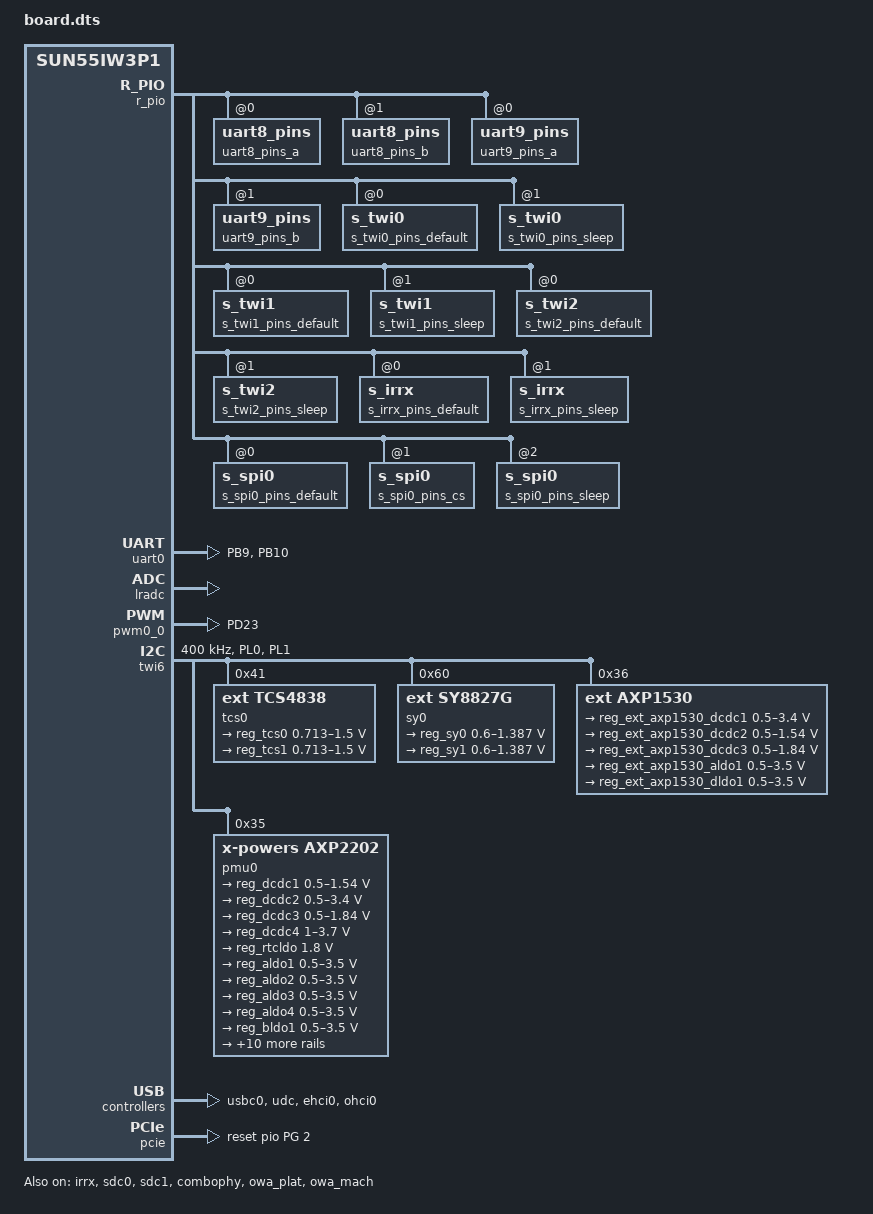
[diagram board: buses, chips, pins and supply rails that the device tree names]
/*
 * Allwinner Technology CO., Ltd.
 */

/dts-v1/;

#include "sun55iw3p1.dtsi"

/{
	board = "A523", "A523-VER1-AXP717C";
	compatible = "allwinner,a523", "arm,sun55iw3p1";
	aliases {
		pmu0 = &pmu0;
		axp1530 = &axp1530;
		serial0 = &uart0;
		reg-tcs0 = &reg_tcs0;
		reg-sy0 = &reg_sy0;
		reg-axp1530 = &reg_ext_axp1530_dcdc1;
		tcs0 = &tcs0;
		sy0 = &sy0;
		cpu-ext = &cpu4;
		standby-param = &standby_param;
		arisc-config = &arisc_config;
	};

	standby_param: standby_param {
		vdd-cpu = <0x00000001>;
		vdd-cpub = <0x00000001>;
		vdd-ndr = <0x00000004>;
		vdd-sys = <0x00000002>;
		vcc-pll = <0x00000080>;
		vcc-io  = <0x00004000>;

		osc24m-on = <0x0>;
	};
	arisc_config: arisc_config {
		s_uart_config{
			pins = "PL2", "PL3";
			function = <2>, <2>;
			status = "disabled";
		};
	};
};

&r_pio {
	uart8_pins_a: uart8_pins@0 {
		pins = "PL2", "PL3";
		function = "s_uart0";
	};

	uart8_pins_b: uart8_pins@1 {
		pins = "PL2", "PL3";
		function = "gpio_in";
	};

	uart9_pins_a: uart9_pins@0 {
		pins = "PM0", "PM1";
		function = "s_uart1";
	};

	uart9_pins_b: uart9_pins@1 {
		pins = "PM0", "PM1";
		function = "gpio_in";
	};

	s_twi0_pins_default: s_twi0@0 {
		pins = "PL0", "PL1";
		function = "s_twi0";
		drive-strength = <10>;
		bias-pull-up;
	};

	s_twi0_pins_sleep: s_twi0@1 {
		pins = "PL0", "PL1";
		function = "gpio_in";
	};

	s_twi1_pins_default: s_twi1@0 {
		pins = "PM2", "PM3";
		function = "s_twi1";
		drive-strength = <10>;
		bias-pull-up;
	};

	s_twi1_pins_sleep: s_twi1@1 {
		pins = "PM2", "PM3";
		function = "gpio_in";
	};

	s_twi2_pins_default: s_twi2@0 {
		pins = "PL12", "PL13";
		function = "s_twi2";
		drive-strength = <10>;
		bias-pull-up;
	};

	s_twi2_pins_sleep: s_twi2@1 {
		pins = "PL12", "PL13";
		function = "gpio_in";
	};

	s_irrx_pins_default: s_irrx@0 {
		pins = "PL11";
		function = "s_cir";
	};

	s_irrx_pins_sleep: s_irrx@1 {
	        pins = "PL11";
		function = "gpio_in";
	};

	s_spi0_pins_default: s_spi0@0 {
		pins = "PL11", "PL12", "PL13"; /* clk, mosi, miso */
		function = "s_spi0";
		drive-strength = <10>;
	};

	s_spi0_pins_cs: s_spi0@1 {
		pins = "PL10";
		function = "s_spi0";
		drive-strength = <10>;
		bias-pull-up;   /* cs, hold, wp should be pulled up */
	};

	s_spi0_pins_sleep: s_spi0@2 {
		pins = "PL10", "PL11", "PL12", "PL13";
		function = "gpio_in";
		drive-strength = <10>;
	};
};

&pio {
	uart0_pins_a: uart0_pins@0 {  /* For FPGA board */
		pins = "PB9", "PB10";
		function = "uart0";
	};

	uart0_pins_b: uart0_pins@1 {
		pins = "PB9", "PB10";
		function = "gpio_in";
	};

	uart2_pins_a: uart2_pins@0 {
		pins = "PB0", "PB1";
		function = "uart2";
	};

	uart2_pins_b: uart2_pins@1 {
		pins = "PB0", "PB1";
		function = "gpio_in";
	};

	uart3_pins_a: uart3_pins@0 {
		pins = "PD14", "PD15";
		function = "uart3";
	};

	uart3_pins_b: uart3_pins@1 {
		pins = "PD14", "PD15";
		function = "gpio_in";
	};

	uart4_pins_a: uart4_pins@0 {
		pins = "PD18", "PD19";
		function = "uart4";
	};

	uart4_pins_b: uart4_pins@1 {
		pins = "PD18", "PD19";
		function = "gpio_in";
	};

	uart5_pins_a: uart5_pins@0 {
		pins = "PE11", "PE12";
		function = "uart5";
	};

	uart5_pins_b: uart5_pins@1 {
		pins = "PE11", "PE12";
		function = "gpio_in";
	};

	uart6_pins_a: uart6_pins@0 {
		pins = "PK18", "PK19";
		function = "uart6";
	};

	uart6_pins_b: uart6_pins@1 {
		pins = "PK18", "PK19";
		function = "gpio_in";
	};

	uart7_pins_a: uart7_pins@0 {
		pins = "PB11", "PB12";
		function = "uart7";
	};

	uart7_pins_b: uart7_pins@1 {
		pins = "PB11", "PB12";
		function = "gpio_in";
	};

	pwm0_0_pin_active: pwm0_0@0 {
		pins = "PD23";
		function = "pwm0_0";
		drive-strength = <10>;
	};

	pwm0_0_pin_sleep: pwm0_0@1 {
		pins = "PD23";
		function = "gpio_in";
	};

	ledc_pins_a: ledc@0 {
		pins = "PG0";
		function = "ledc";
		drive-strength = <10>;
	};

	ledc_pins_b: ledc@1 {
		pins = "PG0";
		function = "gpio_in";
	};

	irrx_pins_default: irrx@0 {
		pins = "PH19";
		function = "cir";
	};

	irrx_pins_sleep: irrx@1 {
	        pins = "PH19";
	        function = "gpio_in";
	};

	irtx_pins_default: irtx@0 {
		pins = "PH18";
		function = "cir";
	};

	irtx_pins_sleep: irtx@1 {
		pins = "PH18";
		function = "gpio_in";
	};

	twi0_pins_default: twi0@0 {
		pins = "PH0", "PH1";
		function = "twi0";
		drive-strength = <10>;
		bias-pull-up;
	};

	twi0_pins_sleep: twi0@1 {
		pins = "PH0", "PH1";
		function = "gpio_in";
	};

	twi1_pins_default: twi1@0 {
		pins = "PE11", "PE12";
		function = "twi1";
		drive-strength = <10>;
		bias-pull-up;
	};

	twi1_pins_sleep: twi1@1 {
		pins = "PE11", "PE12";
		function = "gpio_in";
	};

	twi2_pins_default: twi2@0 {
		pins = "PE1", "PE2";
		function = "twi2";
		drive-strength = <10>;
		bias-pull-up;
	};

	twi2_pins_sleep: twi2@1 {
		pins = "PE1", "PE2";
		function = "gpio_in";
	};

	twi3_pins_default: twi3@0 {
		pins = "PE3", "PE4";
		function = "twi3";
		drive-strength = <10>;
		bias-pull-up;
	};

	twi3_pins_sleep: twi3@1 {
		pins = "PE3", "PE4";
		function = "gpio_in";
	};

	twi4_pins_default: twi4@0 {
		pins = "PE13", "PE14";
		function = "twi4";
		drive-strength = <10>;
		bias-pull-up;
	};

	twi4_pins_sleep: twi4@1 {
		pins = "PE13", "PE14";
		function = "gpio_in";
	};

	twi5_pins_default: twi5@0 {
		pins = "PB11", "PB12";
		function = "twi5";
		drive-strength = <10>;
		bias-pull-up;
	};

	twi5_pins_sleep: twi5@1 {
		pins = "PB11", "PB12";
		function = "gpio_in";
	};

	spi0_pins_default: spi0@0 {
		pins = "PC12", "PC2", "PC4"; /* clk, mosi, miso */
		function = "spi0";
		drive-strength = <10>;
	};

	spi0_pins_cs: spi0@1 {
		pins = "PC3", "PC15", "PC16";
		function = "spi0";
		drive-strength = <10>;
		bias-pull-up;   /* cs, hold, wp should be pulled up */
	};

	spi0_pins_sleep: spi0@2 {
		pins = "PC12", "PC2", "PC4", "PC3", "PC15", "PC16";
		function = "gpio_in";
		drive-strength = <10>;
	};

	spi1_pins_default: spi1@0 {
		pins = "PH5", "PH6", "PH7"; /* clk, mosi, miso */
		function = "spi1";
		drive-strength = <10>;
	};

	spi1_pins_cs: spi1@1 {
		pins = "PH4";
		function = "spi1";
		drive-strength = <10>;
		bias-pull-up;   /* cs, hold, wp should be pulled up */
	};

	spi1_pins_sleep: spi1@2 {
		pins = "PH4", "PH5", "PH6", "PH7";
		function = "gpio_in";
		drive-strength = <10>;
	};

	spi2_pins_default: spi2@0 {
		pins = "PE12", "PE13", "PE14"; /* clk, mosi, miso */
		function = "spi2";
		drive-strength = <10>;
	};

	spi2_pins_cs: spi2@1 {
		pins = "PE11";
		function = "spi2";
		drive-strength = <10>;
		bias-pull-up;   /* cs, hold, wp should be pulled up */
	};

	spi2_pins_sleep: spi2@2 {
		pins = "PE11", "PE12", "PE13", "PE14";
		function = "gpio_in";
		drive-strength = <10>;
	};

	nand0_pins_default: nand0@0 {
		pins = "PC0", "PC1", "PC2", "PC5",
			 "PC8", "PC9", "PC10", "PC11",
			 "PC12", "PC13", "PC14", "PC15",
			 "PC16";
		function = "nand0";
		drive-strength = <30>;
	};

	nand0_pins_rb: nand0@1 {
		pins = "PC4", "PC6", "PC3", "PC7";
		function = "nand0";
		drive-strength = <30>;
		bias-pull-up;   /* only RB&CE should be pulled up */
	};

	nand0_pins_sleep: nand0@2 {
		pins = "PC0", "PC1", "PC2", "PC3",
			 "PC4", "PC5", "PC6", "PC7",
			 "PC8", "PC9", "PC10", "PC11",
			 "PC12", "PC13", "PC14", "PC15",
			 "PC16";
		function = "io_disabled";
		drive-strength = <10>;
	};

	owa_pins_a: owa@0 {
		pins = "PH7";
		function = "owa";
		drive-strength = <20>;
		bias-disable;
	};

	owa_pins_b: owa@1 {
		pins = "PH7";
		function = "io_disabled";
		drive-strength = <20>;
		bias-disable;
	};
};

&soc {
	auto_print@54321 {
		reg = <0x0 0x54321 0x0 0x0>;
		device_type = "auto_print";
		status = "okay";
	};

};

&uart0 {
	pinctrl-names = "default", "sleep";
	pinctrl-0 = <&uart0_pins_a>;
	pinctrl-1 = <&uart0_pins_b>;
	uart-supply = <&reg_cldo3>;
	status = "okay";
};

&uart2 {
	pinctrl-names = "default", "sleep";
	pinctrl-0 = <&uart2_pins_a>;
	pinctrl-1 = <&uart2_pins_b>;
	status = "disabled";
};

&uart3 {
	pinctrl-names = "default", "sleep";
	pinctrl-0 = <&uart3_pins_a>;
	pinctrl-1 = <&uart3_pins_b>;
	status = "disabled";
};

&uart4 {
	pinctrl-names = "default", "sleep";
	pinctrl-0 = <&uart4_pins_a>;
	pinctrl-1 = <&uart4_pins_b>;
	status = "disabled";
};

&uart5 {
	pinctrl-names = "default", "sleep";
	pinctrl-0 = <&uart5_pins_a>;
	pinctrl-1 = <&uart5_pins_b>;
	status = "disabled";
};

&uart6 {
	pinctrl-names = "default", "sleep";
	pinctrl-0 = <&uart6_pins_a>;
	pinctrl-1 = <&uart6_pins_b>;
	status = "disabled";
};

&uart7 {
	pinctrl-names = "default", "sleep";
	pinctrl-0 = <&uart7_pins_a>;
	pinctrl-1 = <&uart7_pins_b>;
	status = "disabled";
};

&uart8 {
	pinctrl-names = "default", "sleep";
	pinctrl-0 = <&uart8_pins_a>;
	pinctrl-1 = <&uart8_pins_b>;
	status = "disabled";
};

&uart9 {
	pinctrl-names = "default", "sleep";
	pinctrl-0 = <&uart9_pins_a>;
	pinctrl-1 = <&uart9_pins_b>;
	status = "disabled";
};

&lradc {
	key_cnt = <5>;
	key0 = <210 115>;
	key1 = <410 114>;
	key2 = <590 139>;
	key3 = <750 28>;
	key4 = <880 172>;
	status = "okay";
};

&gpadc0 {
	channel_num = <2>;
	channel_select = <3>;
	channel_data_select = <3>;
	channel_compare_select = <3>;
	channel_cld_select = <3>;
	channel_chd_select = <3>;
	channel0_compare_lowdata = <1700000>;
	channel0_compare_higdata = <1200000>;
	channel1_compare_lowdata = <460000>;
	channel1_compare_higdata = <1200000>;
	status = "disabled";
};

&gpadc1 {
	channel_num = <2>;
	channel_select = <3>;
	channel_data_select = <3>;
	channel_compare_select = <3>;
	channel_cld_select = <3>;
	channel_chd_select = <3>;
	channel0_compare_lowdata = <1700000>;
	channel0_compare_higdata = <1200000>;
	channel1_compare_lowdata = <460000>;
	channel1_compare_higdata = <1200000>;
	status = "disabled";
};

&pwm0_0 {
	pinctrl-names = "active", "sleep";
	pinctrl-0 = <&pwm0_0_pin_active>;
	pinctrl-1 = <&pwm0_0_pin_sleep>;
	status = "okay";
};

&ledc  {
	pinctrl-names = "default", "sleep";
	pinctrl-0 = <&ledc_pins_a>;
	pinctrl-1 = <&ledc_pins_b>;
	led_count = <34>;
	output_mode = "GRB";
	reset_ns = <84>;
	t1h_ns = <800>;
	t1l_ns = <320>;
	t0h_ns = <300>;
	t0l_ns = <800>;
	wait_time0_ns = <84>;
	wait_time1_ns = <84>;
	wait_data_time_ns = <600000>;
	status = "disabled";
};

&irrx {
	pinctrl-names = "default", "sleep";
	pinctrl-0 = <&irrx_pins_default>;
	pinctrl-1 = <&irrx_pins_sleep>;
	status = "okay";
};

&s_irrx {
	pinctrl-names = "default", "sleep";
	pinctrl-0 = <&s_irrx_pins_default>;
	pinctrl-1 = <&s_irrx_pins_sleep>;
	status = "disabled";
};

&irtx {
	pinctrl-names = "default", "sleep";
	pinctrl-0 = <&irtx_pins_default>;
	pinctrl-1 = <&irtx_pins_sleep>;
	status = "disabled";
};

&twi0 {
	clock-frequency = <400000>;
	pinctrl-0 = <&twi0_pins_default>;
	pinctrl-1 = <&twi0_pins_sleep>;
	pinctrl-names = "default", "sleep";
	/* For stability and backwards compatibility, we recommend setting ‘twi_drv_used’ to 1 */
	twi_drv_used = <1>;
	status = "disabled";

	eeprom@50 {
		compatible = "atmel,24c16";
		reg = <0x50>;
		status = "okay";
	};
};

&twi1 {
	clock-frequency = <400000>;
	pinctrl-0 = <&twi1_pins_default>;
	pinctrl-1 = <&twi1_pins_sleep>;
	pinctrl-names = "default", "sleep";
	/* For stability and backwards compatibility, we recommend setting ‘twi_drv_used’ to 1 */
	twi_drv_used = <1>;
	status = "disabled";
};

&twi2 {
	clock-frequency = <400000>;
	pinctrl-0 = <&twi2_pins_default>;
	pinctrl-1 = <&twi2_pins_sleep>;
	pinctrl-names = "default", "sleep";
	/* For stability and backwards compatibility, we recommend setting ‘twi_drv_used’ to 1 */
	twi_drv_used = <1>;
	status = "disabled";
};

&twi3 {
	clock-frequency = <400000>;
	pinctrl-0 = <&twi3_pins_default>;
	pinctrl-1 = <&twi3_pins_sleep>;
	pinctrl-names = "default", "sleep";
	/* For stability and backwards compatibility, we recommend setting ‘twi_drv_used’ to 1 */
	twi_drv_used = <1>;
	status = "disabled";
};

&twi4 {
	clock-frequency = <400000>;
	pinctrl-0 = <&twi4_pins_default>;
	pinctrl-1 = <&twi4_pins_sleep>;
	pinctrl-names = "default", "sleep";
	/* For stability and backwards compatibility, we recommend setting ‘twi_drv_used’ to 1 */
	twi_drv_used = <1>;
	status = "disabled";
};

&twi5 {
	clock-frequency = <400000>;
	pinctrl-0 = <&twi5_pins_default>;
	pinctrl-1 = <&twi5_pins_sleep>;
	pinctrl-names = "default", "sleep";
	/* For stability and backwards compatibility, we recommend setting ‘twi_drv_used’ to 1 */
	twi_drv_used = <1>;
	status = "disabled";
};

&twi6 {
	clock-frequency = <400000>;
	pinctrl-0 = <&s_twi0_pins_default>;
	pinctrl-1 = <&s_twi0_pins_sleep>;
	pinctrl-names = "default", "sleep";
	/* For stability and backwards compatibility, we recommend setting ‘twi_drv_used’ to 1 */
	twi_drv_used = <1>;
	no_suspend = <1>;
	status = "okay";

	tcs0: tcs@41 {
		compatible = "ext,tcs4838";
		reg = <0x41>;
		status = "okay";
		tcs4838_delay = <0>;
		regulator1: regulators@1 {
			reg_tcs0: dcdc0 {
				regulator-name = "tcs4838-dcdc0";
				regulator-min-microvolt = <712500>;
				regulator-max-microvolt = <1500000>;
				regulator-ramp-delay = <520>;
				regulator-enable-ramp-delay = <1000>;
				regulator-always-on;
				regulator-boot-on;
			};
			reg_tcs1: dcdc1 {
				regulator-name = "tcs4838-dcdc1";
				regulator-min-microvolt = <712500>;
				regulator-max-microvolt = <1500000>;
				regulator-ramp-delay = <520>;
				regulator-enable-ramp-delay = <1000>;
			};
		};
		virtual-ext-dcdc0 {
			compatible = "xpower-vregulator,ext-dcdc0";
			dcdc0-supply = <&reg_tcs0>;
		};
		virtual-ext-dcdc1 {
			compatible = "xpower-vregulator,ext-dcdc1";
			dcdc1-supply = <&reg_tcs1>;
		};
	};

	sy0: sy@60 {
		compatible = "ext,sy8827g";
		reg = <0x60>;
		status = "okay";
		sy8827g_delay = <0>;
		regulator2: regulators@2 {
			reg_sy0: dcdc0 {
				regulator-name = "sy8827g-dcdc0";
				regulator-min-microvolt = <600000>;
				regulator-max-microvolt = <1387500>;
				regulator-ramp-delay = <520>;
				regulator-enable-ramp-delay = <1000>;
				regulator-always-on;
				regulator-boot-on;
			};
			reg_sy1: dcdc1 {
				regulator-name = "sy8827g-dcdc1";
				regulator-min-microvolt = <600000>;
				regulator-max-microvolt = <1387500>;
				regulator-ramp-delay = <520>;
				regulator-enable-ramp-delay = <1000>;
			};
		};
		virtual-ext-dcdc0 {
			compatible = "xpower-vregulator,ext-dcdc0";
			dcdc0-supply = <&reg_sy0>;
		};
		virtual-ext-dcdc1 {
			compatible = "xpower-vregulator,ext-dcdc1";
			dcdc1-supply = <&reg_sy1>;
		};
	};

	axp1530: axp1530@36{
		compatible = "ext,axp1530";
		status = "okay";
		reg = <0x36>;

		wakeup-source;

		regulators{
			reg_ext_axp1530_dcdc1: dcdc1 {
				regulator-name = "axp1530-dcdc1";
				regulator-min-microvolt = <500000>;
				regulator-max-microvolt = <3400000>;
				regulator-step-delay-us = <25>;
				regulator-final-delay-us = <50>;
				regulator-always-on;
			};

			reg_ext_axp1530_dcdc2: dcdc2 {
				regulator-name = "axp1530-dcdc2";
				regulator-min-microvolt = <500000>;
				regulator-max-microvolt = <1540000>;
				regulator-step-delay-us = <25>;
				regulator-final-delay-us = <50>;
				regulator-ramp-delay = <200>; /* FIXME */
				regulator-always-on;
			};

			reg_ext_axp1530_dcdc3: dcdc3 {
				regulator-name = "axp1530-dcdc3";
				regulator-min-microvolt = <500000>;
				regulator-max-microvolt = <1840000>;
				regulator-step-delay-us = <25>;
				regulator-final-delay-us = <50>;
				regulator-always-on;
			};

			reg_ext_axp1530_aldo1: ldo1 {
				regulator-name = "axp1530-aldo1";
				regulator-min-microvolt = <500000>;
				regulator-max-microvolt = <3500000>;
				regulator-step-delay-us = <25>;
				regulator-final-delay-us = <50>;
			};

			reg_ext_axp1530_dldo1: ldo2 {
				regulator-name = "axp1530-dldo1";
				regulator-min-microvolt = <500000>;
				regulator-max-microvolt = <3500000>;
				regulator-step-delay-us = <25>;
				regulator-final-delay-us = <50>;
			};
		};
		virtual-ext-dcdc1 {
			compatible = "xpower-vregulator,ext-dcdc1";
			dcdc1-supply = <&reg_ext_axp1530_dcdc1>;
		};
		virtual-ext-dcdc2 {
			compatible = "xpower-vregulator,ext-dcdc2";
			dcdc2-supply = <&reg_ext_axp1530_dcdc2>;
		};
		virtual-ext-dcdc3 {
			compatible = "xpower-vregulator,ext-dcdc3";
			dcdc3-supply = <&reg_ext_axp1530_dcdc3>;
		};
		virtual-ext-aldo1 {
			compatible = "xpower-vregulator,ext-aldo1";
			aldo1-supply = <&reg_ext_axp1530_aldo1>;
		};
		virtual-ext-dldo1 {
			compatible = "xpower-vregulator,ext-dldo1";
			dldo1-supply = <&reg_ext_axp1530_dldo1>;
		};

	};
	pmu0: pmu@35 {
		compatible = "x-powers,axp2202";
		reg = <0x35>;
		status = "okay";
		interrupts = <0 IRQ_TYPE_LEVEL_LOW>;
		interrupt-parent = <&nmi_intc>;
		x-powers,drive-vbus-en;
		pmu_reset = <0>;
		pmu_irq_wakeup = <1>;
		pmu_hot_shutdown = <1>;

		wakeup-source;

		usb_power_supply: usb_power_supply {
			compatible = "x-powers,axp2202-usb-power-supply";
			status = "okay";

			pmu_usbpc_vol = <4600>;
			pmu_usbpc_cur = <500>;
			pmu_usbad_vol = <4000>;
			pmu_usbad_cur = <2500>;
			pmu_usb_typec_used = <1>;
			wakeup_usb_in;
			wakeup_usb_out;

			det_acin_supply = <&gpio_power_supply>;
			pmu_acin_usbid_drv = <&pio PH 12 GPIO_ACTIVE_LOW>;
			pmu_vbus_det_gpio = <&pio PH 13 GPIO_ACTIVE_LOW>;
		};

		gpio_power_supply: gpio_power_supply {
			compatible = "x-powers,gpio-supply";
			status = "disabled";
			pmu_acin_det_gpio = <&pio PH 14 GPIO_ACTIVE_LOW>;
			det_usb_supply = <&usb_power_supply>;
		};

		bat_power_supply: bat-power-supply {
			compatible = "x-powers,axp2202-bat-power-supply";
			param = <&axp2202_parameter>;
			status = "disabled";

			pmu_chg_ic_temp = <0>;

			pmu_battery_cap = <1771>;
			pmu_runtime_chgcur = <1000>;
			pmu_suspend_chgcur = <1500>;
			pmu_shutdown_chgcur = <1500>;
			pmu_init_chgvol = <4350>;
			pmu_battery_warning_level1 = <15>;
			pmu_battery_warning_level2 = <0>;
			pmu_chgled_func = <0>;
			pmu_chgled_type = <0>;

			pmu_bat_temp_enable = <0>;
			pmu_jetia_en        = <0>;
			pmu_bat_charge_ltf = <1738>; //-5
			pmu_bat_charge_htf = <150>; //60
			pmu_bat_shutdown_ltf = <2125>; //-10
			pmu_bat_shutdown_htf = <130>; //65
			pmu_jetia_cool = <1390>; //0
			pmu_jetia_warm = <206>; //50
			pmu_jcool_ifall = <2>;//75%
			pmu_jwarm_ifall = <2>;//75%
			pmu_bat_temp_para1 = <4592>; //SDNT-25
			pmu_bat_temp_para2 = <2781>; //-15
			pmu_bat_temp_para3 = <2125>; //-10
			pmu_bat_temp_para4 = <1738>; //-5
			pmu_bat_temp_para5 = <1390>;//0
			pmu_bat_temp_para6 = <1118>; //5
			pmu_bat_temp_para7 = <906>; //10
			pmu_bat_temp_para8 = <606>; //20
			pmu_bat_temp_para9 = <415>; //30
			pmu_bat_temp_para10 = <290>; //40
			pmu_bat_temp_para11 = <244>; //45
			pmu_bat_temp_para12 = <206>; //50
			pmu_bat_temp_para13 = <175>; //55
			pmu_bat_temp_para14 = <150>; //60
			pmu_bat_temp_para15 = <110>; //70
			pmu_bat_temp_para16 = <83>; //80

			wakeup_bat_out;
			/* wakeup_bat_in; */
			/* wakeup_bat_charging; */
			/* wakeup_bat_charge_over; */
			/* wakeup_low_warning1; */
			/* wakeup_low_warning2; */
			/* wakeup_bat_untemp_work; */
			/* wakeup_bat_ovtemp_work; */
			/* wakeup_bat_untemp_chg; */
			/* wakeup_bat_ovtemp_chg; */
		};

		powerkey0: powerkey@0 {
			status = "okay";
			compatible = "x-powers,axp2101-pek";
			pmu_powkey_off_time = <6000>;
			pmu_powkey_off_func = <0>;
			pmu_powkey_off_en = <1>;
			pmu_powkey_long_time = <1500>;
			pmu_powkey_on_time = <512>;
			wakeup_rising;
			wakeup_falling;
		};

		regulator0: regulators@0 {
			reg_dcdc1: dcdc1 {
				regulator-name = "axp2202-dcdc1";
				regulator-min-microvolt = <500000>;
				regulator-max-microvolt = <1540000>;
				regulator-ramp-delay = <250>;
				regulator-enable-ramp-delay = <1000>;
				regulator-boot-on;
				regulator-always-on;
			};
			reg_dcdc2: dcdc2 {
				regulator-name = "axp2202-dcdc2";
				regulator-min-microvolt = <500000>;
				regulator-max-microvolt = <3400000>;
				regulator-ramp-delay = <250>;
				regulator-enable-ramp-delay = <1000>;
				regulator-boot-on;
				regulator-always-on;
			};
			reg_dcdc3: dcdc3 {
				regulator-name = "axp2202-dcdc3";
				regulator-min-microvolt = <500000>;
				regulator-max-microvolt = <1840000>;
				regulator-ramp-delay = <250>;
				regulator-enable-ramp-delay = <1000>;
				regulator-always-on;
			};
			reg_dcdc4: dcdc4 {
				regulator-name = "axp2202-dcdc4";
				regulator-min-microvolt = <1000000>;
				regulator-max-microvolt = <3700000>;
				regulator-ramp-delay = <250>;
				regulator-enable-ramp-delay = <1000>;
			};
			reg_rtcldo: rtcldo {
				/* RTC_LDO is a fixed, always-on regulator */
				regulator-name = "axp2202-rtcldo";
				regulator-min-microvolt = <1800000>;
				regulator-max-microvolt = <1800000>;
				regulator-boot-on;
				regulator-always-on;
			};
			reg_aldo1: aldo1 {
				regulator-name = "axp2202-aldo1";
				regulator-min-microvolt = <500000>;
				regulator-max-microvolt = <3500000>;
				regulator-enable-ramp-delay = <1000>;
			};
			reg_aldo2: aldo2 {
				regulator-name = "axp2202-aldo2";
				regulator-min-microvolt = <500000>;
				regulator-max-microvolt = <3500000>;
				regulator-enable-ramp-delay = <1000>;
			};
			reg_aldo3: aldo3 {
				regulator-name = "axp2202-aldo3";
				regulator-min-microvolt = <500000>;
				regulator-max-microvolt = <3500000>;
				regulator-enable-ramp-delay = <1000>;
				regulator-always-on;
				regulator-boot-on;
			};
			reg_aldo4: aldo4 {
				regulator-name = "axp2202-aldo4";
				regulator-min-microvolt = <500000>;
				regulator-max-microvolt = <3500000>;
				regulator-enable-ramp-delay = <1000>;
				regulator-always-on;
				regulator-boot-on;
			};
			reg_bldo1: bldo1 {
				regulator-name = "axp2202-bldo1";
				regulator-min-microvolt = <500000>;
				regulator-max-microvolt = <3500000>;
				regulator-enable-ramp-delay = <1000>;
			};
			reg_bldo2: bldo2 {
				regulator-name = "axp2202-bldo2";
				regulator-min-microvolt = <500000>;
				regulator-max-microvolt = <3500000>;
				regulator-enable-ramp-delay = <1000>;
				regulator-boot-on;
				regulator-always-on;
			};
			reg_bldo3: bldo3 {
				regulator-name = "axp2202-bldo3";
				regulator-min-microvolt = <500000>;
				regulator-max-microvolt = <3500000>;
				regulator-enable-ramp-delay = <1000>;
			};
			reg_bldo4: bldo4 {
				regulator-name = "axp2202-bldo4";
				regulator-min-microvolt = <500000>;
				regulator-max-microvolt = <3500000>;
				regulator-enable-ramp-delay = <1000>;
			};
			reg_cldo1: cldo1 {
				regulator-name = "axp2202-cldo1";
				regulator-min-microvolt = <500000>;
				regulator-max-microvolt = <3500000>;
				regulator-enable-ramp-delay = <1000>;
			};
			reg_cldo2: cldo2 {
				regulator-name = "axp2202-cldo2";
				regulator-min-microvolt = <500000>;
				regulator-max-microvolt = <3500000>;
				regulator-enable-ramp-delay = <1000>;
			};
			reg_cldo3: cldo3 {
				regulator-name = "axp2202-cldo3";
				regulator-min-microvolt = <500000>;
				regulator-max-microvolt = <3500000>;
				regulator-ramp-delay = <2500>;
				regulator-enable-ramp-delay = <1000>;
				regulator-boot-on;
				regulator-always-on;
			};
			reg_cldo4: cldo4 {
				regulator-name = "axp2202-cldo4";
				regulator-min-microvolt = <500000>;
				regulator-max-microvolt = <3500000>;
				regulator-enable-ramp-delay = <1000>;
			};
			reg_cpusldo: cpusldo {
				/* cpus */
				regulator-name = "axp2202-cpusldo";
				regulator-min-microvolt = <500000>;
				regulator-max-microvolt = <1400000>;
				regulator-boot-on;
				regulator-always-on;
			};
			reg_vmid: vmid {
				regulator-name = "axp2202-vmid";
				regulator-enable-ramp-delay = <1000>;
			};
			reg_drivevbus: drivevbus {
				regulator-name = "axp2202-drivevbus";
				regulator-enable-ramp-delay = <1000>;
				drivevbusin-supply = <&reg_vmid>;
			};
		};

		virtual-dcdc1 {
			compatible = "xpower-vregulator,dcdc1";
			dcdc1-supply = <&reg_dcdc1>;
		};
		virtual-dcdc2 {
			compatible = "xpower-vregulator,dcdc2";
			dcdc2-supply = <&reg_dcdc2>;
		};
		virtual-dcdc3 {
			compatible = "xpower-vregulator,dcdc3";
			dcdc3-supply = <&reg_dcdc3>;
		};
		virtual-dcdc4 {
			compatible = "xpower-vregulator,dcdc4";
			dcdc4-supply = <&reg_dcdc4>;
		};
		virtual-rtcldo {
			compatible = "xpower-vregulator,rtcldo";
			rtcldo-supply = <&reg_rtcldo>;
		};
		virtual-aldo1 {
			compatible = "xpower-vregulator,aldo1";
			aldo1-supply = <&reg_aldo1>;
		};
		virtual-aldo2 {
			compatible = "xpower-vregulator,aldo2";
			aldo2-supply = <&reg_aldo2>;
		};
		virtual-aldo3 {
			compatible = "xpower-vregulator,aldo3";
			aldo3-supply = <&reg_aldo3>;
		};
		virtual-aldo4 {
			compatible = "xpower-vregulator,aldo4";
			aldo4-supply = <&reg_aldo4>;
		};
		virtual-bldo1 {
			compatible = "xpower-vregulator,bldo1";
			bldo1-supply = <&reg_bldo1>;
		};
		virtual-bldo2 {
			compatible = "xpower-vregulator,bldo2";
			bldo2-supply = <&reg_bldo2>;
		};
		virtual-bldo3 {
			compatible = "xpower-vregulator,bldo3";
			bldo3-supply = <&reg_bldo3>;
		};
		virtual-bldo4 {
			compatible = "xpower-vregulator,bldo4";
			bldo4-supply = <&reg_bldo4>;
		};
		virtual-cldo1 {
			compatible = "xpower-vregulator,cldo1";
			cldo1-supply = <&reg_cldo1>;
		};
		virtual-cldo2 {
			compatible = "xpower-vregulator,cldo2";
			cldo2-supply = <&reg_cldo2>;
		};
		virtual-cldo3 {
			compatible = "xpower-vregulator,cldo3";
			cldo3-supply = <&reg_cldo3>;
		};
		virtual-cldo4 {
			compatible = "xpower-vregulator,cldo4";
			cldo4-supply = <&reg_cldo4>;
		};
		virtual-cpusldo {
			compatible = "xpower-vregulator,cpusldo";
			cpusldo-supply = <&reg_cpusldo>;
		};
		virtual-drivevbus {
			compatible = "xpower-vregulator,drivevbus";
			drivevbus-supply = <&reg_drivevbus>;
		};
		axp_gpio0: axp_gpio@0 {
			gpio-controller;
			#size-cells = <0>;
			#gpio-cells = <6>;
			status = "okay";
		};
	};
};

&twi7 {
	clock-frequency = <400000>;
	pinctrl-0 = <&s_twi1_pins_default>;
	pinctrl-1 = <&s_twi1_pins_sleep>;
	pinctrl-names = "default", "sleep";
	/* For stability and backwards compatibility, we recommend setting ‘twi_drv_used’ to 1 */
	twi_drv_used = <1>;
	status = "disabled";
};

&twi8 {
	clock-frequency = <400000>;
	pinctrl-0 = <&s_twi2_pins_default>;
	pinctrl-1 = <&s_twi2_pins_sleep>;
	pinctrl-names = "default", "sleep";
	/* For stability and backwards compatibility, we recommend setting ‘twi_drv_used’ to 1 */
	twi_drv_used = <1>;
	status = "disabled";
};

/{
	axp2202_parameter:axp2202-parameter {
		select = "battery-model";

		battery-model {
			parameter = /bits/ 8 <0x01 0xf5 0x40 0x00 0x1b 0x1e 0x28 0x0f
				0x0c 0x1e 0x32 0x02 0x14 0x05 0x0a 0x04
				0x74 0xfb 0xc8 0x0d 0x43 0x10 0x36 0xfb
				0x46 0x01 0xea 0x0d 0x2a 0x06 0x36 0x05
				0xf4 0x0a 0xb5 0x0f 0x42 0x0e 0xe6 0x09
				0x9a 0x0e 0x42 0x0e 0x3b 0x04 0x2d 0x04
				0x23 0x09 0x18 0x0e 0x09 0x0e 0x04 0x08
				0xf7 0x0d 0xda 0x0d 0xd0 0x03 0xbb 0x03
				0x9d 0x08 0x7f 0x0d 0x6a 0x0d 0x55 0x07
				0xc2 0x57 0x2b 0x27 0x1e 0x0d 0x14 0x08
				0xc5 0x98 0x7e 0x66 0x4e 0x44 0x38 0x1a
				0x12 0x0a 0xf6 0x00 0x00 0xf6 0x00 0xf6
				0x00 0xfb 0x00 0x00 0xfb 0x00 0x00 0xfb
				0x00 0x00 0xf6 0x00 0x00 0xf6 0x00 0xf6
				0x00 0xfb 0x00 0x00 0xfb 0x00 0x00 0xfb
				0x00 0x00 0xf6 0x00 0x00 0xf6 0x00 0xf6>;
		};
			  };
};

&spi0 {
	clock-frequency = <100000000>;
	pinctrl-0 = <&spi0_pins_default &spi0_pins_cs>;
	pinctrl-1 = <&spi0_pins_sleep>;
	pinctrl-names = "default", "sleep";
	spi_slave_mode = <0>;
	status = "disabled";
};

&spi1 {
	clock-frequency = <100000000>;
	pinctrl-0 = <&spi1_pins_default &spi1_pins_cs>;
	pinctrl-1 = <&spi1_pins_sleep>;
	pinctrl-names = "default", "sleep";
	spi_slave_mode = <0>;
	status = "disabled";
};

&spi2 {
	clock-frequency = <100000000>;
	pinctrl-0 = <&spi2_pins_default &spi2_pins_cs>;
	pinctrl-1 = <&spi2_pins_sleep>;
	pinctrl-names = "default", "sleep";
	spi_slave_mode = <0>;
	status = "disabled";
};

&r_spi0 {
	clock-frequency = <100000000>;
	pinctrl-0 = <&s_spi0_pins_default &s_spi0_pins_cs>;
	pinctrl-1 = <&s_spi0_pins_sleep>;
	pinctrl-names = "default", "sleep";
	spi_slave_mode = <0>;
	status = "disabled";
};

&nand0 {
	compatible = "allwinner,sun55iw3-nand";
	device_type = "nand0";
	//reg = <0x0 0x04011000 0x0 0x1000>;/* nand0 */
	pinctrl-names = "default", "sleep";
	pinctrl-0 = <&nand0_pins_default &nand0_pins_rb>;
	pinctrl-1 = <&nand0_pins_sleep>;
	nand0_regulator1 = "vcc-nand";
	nand0_regulator2 = "none";
	nand0_cache_level = <0x55aaaa55>;
	nand0_flush_cache_num = <0x55aaaa55>;
	nand0_capacity_level = <0x55aaaa55>;
	nand0_id_number_ctl = <0x55aaaa55>;
	nand0_print_level = <0x55aaaa55>;
	nand0_p0 = <0x55aaaa55>;
	nand0_p1 = <0x55aaaa55>;
	nand0_p2 = <0x55aaaa55>;
	nand0_p3 = <0x55aaaa55>;
	chip_code = "sun55iw3";
	status = "disabled";
};

&sdc2 {
	non-removable;
	bus-width = <8>;
	/* mmc-ddr-1_8v; */
	/* mmc-hs200-1_8v; */
	/* mmc-hs400-1_8v; */
	no-sdio;
	no-sd;
	ctl-spec-caps = <0x328>;
	cap-mmc-highspeed;
	sunxi-power-save-mode;
	sunxi-dis-signal-vol-sw;
	mmc-bootpart-noacc;
	/*cap-hsq;*/
	cqe-on;
	ctl-cmdq-md = <0x2>;
	max-frequency = <50000000>;
	status = "disabled";
};

&sdc0 {
	bus-width = <4>;
	cd-gpios = <&pio PF 6 (GPIO_ACTIVE_LOW | GPIO_PULL_UP)>;
	/*non-removable;*/
	/*broken-cd;*/
	/*cd-inverted*/
	/*data3-detect;*/
	/*card-pwr-gpios = <&pio PH 14 1 1 2 0xffffffff>;*/
	cd-used-24M;
	cd-set-debounce = <0x31>;
	cap-sd-highspeed;
	/* sd-uhs-sdr50; */
	/* sd-uhs-ddr50; */
	/* sd-uhs-sdr104; */
	no-sdio;
	no-mmc;
	sunxi-power-save-mode;
	/*sunxi-dis-signal-vol-sw;*/
	max-frequency = <50000000>;
	ctl-spec-caps = <0x428>;
	vmmc-supply = <&reg_cldo3>;
	vqmmc33sw-supply = <&reg_cldo3>;
	vdmmc33sw-supply = <&reg_cldo3>;
	vqmmc18sw-supply = <&reg_cldo1>;
	vdmmc18sw-supply = <&reg_cldo1>;
	status = "okay";
};

&sdc1 {
	bus-width = <4>;
	no-mmc;
	no-sd;
	cap-sd-highspeed;
	/* sd-uhs-sdr12; */
	/* sd-uhs-sdr25; */
	/* sd-uhs-sdr50; */
	/* sd-uhs-ddr50; */
	/* sd-uhs-sdr104; */
	/* sunxi-power-save-mode;*/
	sunxi-dis-signal-vol-sw;
	cap-sdio-irq;
	keep-power-in-suspend;
	ignore-pm-notify;
	max-frequency = <50000000>;
	ctl-spec-caps = <0x428>;
	status = "okay";
};

/*
 *usb_port_type: usb mode. 0-device, 1-host, 2-otg.
 *usb_detect_type: usb hotplug detect mode. 0-none, 1-vbus/id detect, 2-id/dpdm detect.
 *usb_detect_mode: 0-thread scan, 1-id gpio interrupt.
 *usb_id_gpio: gpio for id detect.
 *usb_det_vbus_gpio: gpio for id detect. gpio or "axp_ctrl";
 *usb_wakeup_suspend：0-SUPER_STANDBY, 1-USB_STANDBY.
 */
&usbc0 {
	device_type = "usbc0";
	usb_port_type = <0x2>;
	usb_detect_type = <0x1>;
	usb_detect_mode = <0x1>;
	usb_id_gpio;
	usb_det_vbus_gpio;
	usb_regulator_io = "nocare";
	usb_wakeup_suspend = <1>;
	usb_luns = <3>;
	usb_serial_unique = <0>;
	usb_serial_number = "20080411";
	rndis_wceis = <1>;
	wakeup-source;
	status = "okay";
};

&udc {
	status = "okay";
};

&ehci0 {
	status = "okay";
};

&ohci0 {
	status = "okay";
};

/*
 * clk-freq-24M : use Internal 24M reference clock
 * clk-freq-100M: use Internal 100M reference clock
 *
 * Pick one of two.
 */
&combophy {
	clk-freq-100M;
	status = "okay";
};

&pcie {
	reset-gpios = <&pio PG 2 GPIO_ACTIVE_HIGH>;
	wake-gpios = <&pio PG 3 GPIO_ACTIVE_HIGH>;
	pcie3v3-supply = <&reg_bldo1>;
	clk-freq-100M;
	status = "okay";
};

&gpu {
	gpu_idle = <1>;
	dvfs_status = <1>;
	mali-supply = <&reg_dcdc2>;
};

/* audio dirver module -> owa */
&owa_plat {
	pinctrl-used;
	pinctrl-names	= "default","sleep";
	pinctrl-0	= <&owa_pins_a>;
	pinctrl-1	= <&owa_pins_b>;
	tx-hub-en;
	status		= "okay";
};

&owa_mach {
	status		= "okay";
	soundcard-mach,cpu {
		sound-dai = <&owa_plat>;
	};
	soundcard-mach,codec {
	};
};

&cpu0 {
	cpu-supply = <&reg_dcdc1>;
};

&cpu4 {
	cpu-supply = <&reg_tcs0>;
};


&dsufreq {
	dsu-supply = <&reg_dcdc1>;
};

&ve {
	ve-supply = <&reg_dcdc2>;
};
